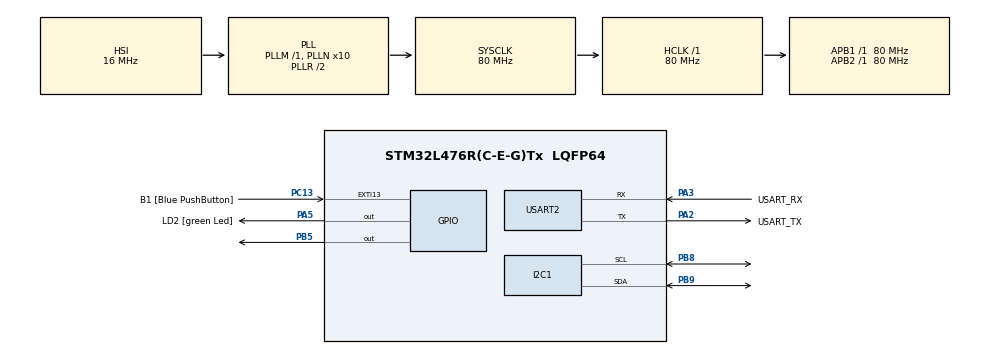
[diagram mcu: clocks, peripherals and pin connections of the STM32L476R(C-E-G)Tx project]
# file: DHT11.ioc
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I2C1.Timing=0x10D19CE4
Mcu.Family=STM32L4
Mcu.Name=STM32L476R(C-E-G)Tx
Mcu.Package=LQFP64
NVIC.PriorityGroup=NVIC_PRIORITYGROUP_4
PA13\ (JTMS-SWDIO).GPIO_Label=TMS
PA13\ (JTMS-SWDIO).Mode=Serial_Wire
PA13\ (JTMS-SWDIO).Signal=SYS_JTMS-SWDIO
PA14\ (JTCK-SWCLK).GPIO_Label=TCK
PA14\ (JTCK-SWCLK).Mode=Serial_Wire
PA14\ (JTCK-SWCLK).Signal=SYS_JTCK-SWCLK
PA2.GPIO_Label=USART_TX
PA2.GPIO_Mode=GPIO_MODE_AF_PP
PA2.GPIO_PuPd=GPIO_NOPULL
PA2.GPIO_Speed=GPIO_SPEED_FREQ_VERY_HIGH
PA2.Mode=Asynchronous
PA2.Signal=USART2_TX
PA3.GPIO_Label=USART_RX
PA3.GPIO_Mode=GPIO_MODE_AF_PP
PA3.GPIO_PuPd=GPIO_NOPULL
PA3.GPIO_Speed=GPIO_SPEED_FREQ_VERY_HIGH
PA3.Mode=Asynchronous
PA3.Signal=USART2_RX
PA5.GPIO_Label=LD2 [green Led]
PA5.GPIO_ModeDefaultOutputPP=GPIO_MODE_OUTPUT_PP
PA5.GPIO_PuPd=GPIO_NOPULL
PA5.GPIO_Speed=GPIO_SPEED_FREQ_LOW
PA5.Signal=GPIO_Output
PB3\ (JTDO-TRACESWO).GPIO_Label=SWO
PB3\ (JTDO-TRACESWO).Signal=SYS_JTDO-SWO
PB5.GPIO_ModeDefaultOutputPP=GPIO_MODE_OUTPUT_OD
PB5.GPIO_PuPd=GPIO_PULLUP
PB5.Signal=GPIO_Output
PB8.Mode=I2C
PB8.Signal=I2C1_SCL
PB9.Mode=I2C
PB9.Signal=I2C1_SDA
PC13.GPIO_Label=B1 [Blue PushButton]
PC13.GPIO_ModeDefaultEXTI=GPIO_MODE_IT_FALLING
PC13.GPIO_PuPd=GPIO_NOPULL
PC13.Signal=GPXTI13
PC14-OSC32_IN\ (PC14).Mode=LSE-External-Oscillator
PC14-OSC32_IN\ (PC14).Signal=RCC_OSC32_IN
PC15-OSC32_OUT\ (PC15).Mode=LSE-External-Oscillator
PC15-OSC32_OUT\ (PC15).Signal=RCC_OSC32_OUT
PH0-OSC_IN\ (PH0).Signal=RCC_OSC_IN
PH1-OSC_OUT\ (PH1).Signal=RCC_OSC_OUT
ProjectManager.HeapSize=0x200
ProjectManager.StackSize=0x400
ProjectManager.TargetToolchain=STM32CubeIDE
RCC.ADCFreq_Value=64000000
RCC.AHBFreq_Value=80000000
RCC.APB1Freq_Value=80000000
RCC.APB1TimFreq_Value=80000000
RCC.APB2Freq_Value=80000000
RCC.APB2TimFreq_Value=80000000
RCC.CortexFreq_Value=80000000
RCC.HCLKFreq_Value=80000000
RCC.HSE_VALUE=8000000
RCC.HSI_VALUE=16000000
RCC.MSI_VALUE=4000000
RCC.PLLN=10
RCC.PLLSourceVirtual=RCC_PLLSOURCE_HSI
RCC.PREFETCH_ENABLE=1
RCC.SYSCLKFreq_VALUE=80000000
RCC.SYSCLKSource=RCC_SYSCLKSOURCE_PLLCLK
RCC.USBFreq_Value=64000000
RCC.VCOOutputFreq_Value=160000000
TIM6.Prescaler=50-1
USART2.VirtualMode-Asynchronous=VM_ASYNC
VP_TIM6_VS_ClockSourceINT.Mode=Enable_Timer
board=NUCLEO-L476RG

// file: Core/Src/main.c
/* USER CODE BEGIN Includes */
#include "main.h"
#include "i2c.h"
#include "tim.h"
#include "usart.h"
#include "gpio.h"
#include "lcd.h"
#include <stdio.h>
/* USER CODE END Includes */

#define DHT11_PORT GPIOB  // Port utilisé
#define DHT11_PIN GPIO_PIN_5 // Pin utilisé

uint8_t Presence, Rh_byte1, Rh_byte2, Temp_byte1, Temp_byte2, SUM;
uint8_t TEMP, RH;

void SystemClock_Config(void);
void Set_Pin_Output(GPIO_TypeDef *GPIOx, uint16_t GPIO_Pin);
void Set_Pin_Input(GPIO_TypeDef *GPIOx, uint16_t GPIO_Pin);
void delay_us(uint16_t time);
void Display_Temp(uint8_t Temp);
void Display_Rh(uint8_t Rh);

/* USER CODE BEGIN 0 */
void Set_Pin_Output(GPIO_TypeDef *GPIOx, uint16_t GPIO_Pin)
{
    GPIO_InitTypeDef GPIO_InitStruct = {0};
    GPIO_InitStruct.Pin = GPIO_Pin;
    GPIO_InitStruct.Mode = GPIO_MODE_OUTPUT_OD;
    GPIO_InitStruct.Pull = GPIO_NOPULL;
    GPIO_InitStruct.Speed = GPIO_SPEED_FREQ_LOW;
    HAL_GPIO_Init(GPIOx, &GPIO_InitStruct);
}

void Set_Pin_Input(GPIO_TypeDef *GPIOx, uint16_t GPIO_Pin)
{
    GPIO_InitTypeDef GPIO_InitStruct = {0};
    GPIO_InitStruct.Pin = GPIO_Pin;
    GPIO_InitStruct.Mode = GPIO_MODE_INPUT;
    GPIO_InitStruct.Pull = GPIO_NOPULL;
    HAL_GPIO_Init(GPIOx, &GPIO_InitStruct);
}

void delay_us(uint16_t time)
{
    __HAL_TIM_SET_COUNTER(&htim6, 0);
    while (__HAL_TIM_GET_COUNTER(&htim6) < time);
}

void DHT11_Start(void)
{
    Set_Pin_Output(DHT11_PORT, DHT11_PIN);
    HAL_GPIO_WritePin(DHT11_PORT, DHT11_PIN, 0);
    delay_us(18000);
    Set_Pin_Input(DHT11_PORT, DHT11_PIN);
}

uint8_t Check_Response(void)
{
	//uint8_t Response = 0;
    uint32_t timeout = 10000; // Timeout pour éviter une boucle infinie

    delay_us(40);
    while (!(HAL_GPIO_ReadPin(DHT11_PORT, DHT11_PIN)) && timeout > 0) {
        timeout--;
        delay_us(1);
    }

    if (timeout == 0) {
        return -1;  // Le capteur ne répond pas
    }

    timeout = 10000; // Réinitialisation du timeout
    delay_us(80);
    while ((HAL_GPIO_ReadPin(DHT11_PORT, DHT11_PIN)) && timeout > 0) {
        timeout--;
        delay_us(1);
    }

    if (timeout == 0) {
        return -1;  // Mauvaise réponse du capteur
    }

    return 1; // Capteur détecté
}

uint8_t DHT11_Read(void)
{
    uint8_t i = 0, j;
    for (j = 0; j < 8; j++)
    {
        while (!(HAL_GPIO_ReadPin(DHT11_PORT, DHT11_PIN)));
        delay_us(40);
        if (!(HAL_GPIO_ReadPin(DHT11_PORT, DHT11_PIN)))
        {
            i &= ~(1 << (7 - j));
        }
        else i |= (1 << (7 - j));
        while ((HAL_GPIO_ReadPin(DHT11_PORT, DHT11_PIN)));
    }
    return i;
}

/* USER CODE END 0 */

int main(void)
{
    HAL_Init();
    SystemClock_Config();
    MX_GPIO_Init();
    MX_USART2_UART_Init();
    MX_I2C1_Init();
    MX_TIM6_Init();

    HAL_TIM_Base_Start(&htim6);

    rgb_lcd lcd_data;
    lcd_init(&hi2c1, &lcd_data);

    lcd_send_string("INIT DHT11...");
    HAL_Delay(2000);
    clearlcd();

    while (1)
    {
        DHT11_Start();
        Presence = Check_Response();

        if (Presence != 1)
        {
            lcd_put_cur(1, 0);
            lcd_send_string("Capteur loading  ");
            HAL_Delay(2000);
            continue;
        }

        Rh_byte1 = DHT11_Read();
        Rh_byte2 = DHT11_Read();
        Temp_byte1 = DHT11_Read();
        Temp_byte2 = DHT11_Read();
        SUM = DHT11_Read();

        if ((Rh_byte1 + Rh_byte2 + Temp_byte1 + Temp_byte2) != SUM)
        {
            lcd_put_cur(1, 0);
            lcd_send_string("Checksum err ");
            HAL_Delay(2000);
            continue;
        }

        TEMP = Temp_byte1;
        RH = Rh_byte1;

        clearlcd();  // Ajoute cette ligne pour effacer l'ancien affichage**
        Display_Temp(TEMP);
        HAL_Delay(1500);
        clearlcd();
        Display_Rh(RH);

        HAL_Delay(3000);
    }

}

/* USER CODE BEGIN 4 */
void Display_Temp(uint8_t Temp)
{
    char str[16] = {0};
    lcd_put_cur(0, 0);
    sprintf(str, "Temp : %dC   ", Temp);
    lcd_send_string(str);
}

void Display_Rh(uint8_t Rh)
{
    char str[16] = {0};
    lcd_put_cur(1, 0);
    sprintf(str, "Hum: %d %%    ", Rh);
    lcd_send_string(str);
}

/* USER CODE END 4 */

void SystemClock_Config(void)
{
  RCC_OscInitTypeDef RCC_OscInitStruct = {0};
  RCC_ClkInitTypeDef RCC_ClkInitStruct = {0};

  /** Configure the main internal regulator output voltage
  */
  if (HAL_PWREx_ControlVoltageScaling(PWR_REGULATOR_VOLTAGE_SCALE1) != HAL_OK)
  {
    Error_Handler();
  }

  /** Initializes the RCC Oscillators according to the specified parameters
  * in the RCC_OscInitTypeDef structure.
  */
  RCC_OscInitStruct.OscillatorType = RCC_OSCILLATORTYPE_HSI;
  RCC_OscInitStruct.HSIState = RCC_HSI_ON;
  RCC_OscInitStruct.HSICalibrationValue = RCC_HSICALIBRATION_DEFAULT;
  RCC_OscInitStruct.PLL.PLLState = RCC_PLL_ON;
  RCC_OscInitStruct.PLL.PLLSource = RCC_PLLSOURCE_HSI;
  RCC_OscInitStruct.PLL.PLLM = 1;
  RCC_OscInitStruct.PLL.PLLN = 10;
  RCC_OscInitStruct.PLL.PLLP = RCC_PLLP_DIV7;
  RCC_OscInitStruct.PLL.PLLQ = RCC_PLLQ_DIV2;
  RCC_OscInitStruct.PLL.PLLR = RCC_PLLR_DIV2;
  if (HAL_RCC_OscConfig(&RCC_OscInitStruct) != HAL_OK)
  {
    Error_Handler();
  }

  RCC_ClkInitStruct.ClockType = RCC_CLOCKTYPE_HCLK|RCC_CLOCKTYPE_SYSCLK
                              |RCC_CLOCKTYPE_PCLK1|RCC_CLOCKTYPE_PCLK2;
  RCC_ClkInitStruct.SYSCLKSource = RCC_SYSCLKSOURCE_PLLCLK;
  RCC_ClkInitStruct.AHBCLKDivider = RCC_SYSCLK_DIV1;
  RCC_ClkInitStruct.APB1CLKDivider = RCC_HCLK_DIV1;
  RCC_ClkInitStruct.APB2CLKDivider = RCC_HCLK_DIV1;

  if (HAL_RCC_ClockConfig(&RCC_ClkInitStruct, FLASH_LATENCY_4) != HAL_OK)
  {
    Error_Handler();
  }
}

void Error_Handler(void)
{
    __disable_irq();
    while (1) {}
}
